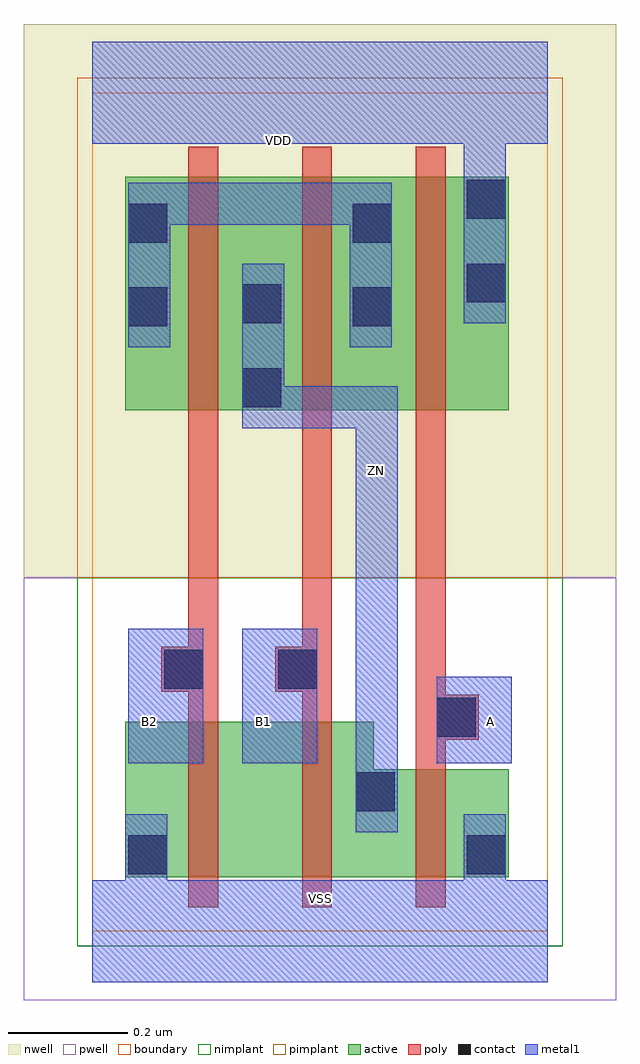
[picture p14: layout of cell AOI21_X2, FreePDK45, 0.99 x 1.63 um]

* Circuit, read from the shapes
.subckt AOI21_X2 A B1 B2 VDD VSS ZN
M1 n1 B2 VSS VSUBS nfet w=0.26u l=0.05u
M2 ZN B1 n1 VSUBS nfet w=0.26u l=0.05u
M3 VSS A ZN VSUBS nfet w=0.18u l=0.05u
M4 ZN B2 n2 n3 pfet w=0.39u l=0.05u
M5 n2 B1 ZN n3 pfet w=0.39u l=0.05u
M6 VDD A n2 n3 pfet w=0.39u l=0.05u
.ends

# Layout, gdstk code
import gdstk
lib = gdstk.Library(unit=1e-6, precision=1e-10)
def R(c, l, rs):  # rectangles x0, y0, x1, y1
    for r in rs: c.add(gdstk.rectangle(r[:2], r[2:], *l))
def P(c, l, *ps):  # polygons
    for p in ps: c.add(gdstk.Polygon(p, *l))
active = (1, 0)
pwell = (2, 0)
nwell = (3, 0)
nimplant = (4, 0)
pimplant = (5, 0)
poly = (9, 0)
contact = (10, 0)
metal1 = (11, 0)
boundary = (235, 0)

aoi21_x2 = lib.new_cell('AOI21_X2')
R(aoi21_x2, active, [(0.055,0.87,0.695,1.26)])
P(aoi21_x2, active, [(0.055,0.09),(0.695,0.09),(0.695,0.27),(0.47,0.27),(0.47,0.35),(0.055,0.35)])
R(aoi21_x2, pwell, [(-0.115,-0.115,0.875,0.59)])
R(aoi21_x2, nwell, [(-0.115,0.59,0.875,1.515)])
R(aoi21_x2, nimplant, [(-0.025,-0.025,0.785,0.59)])
R(aoi21_x2, pimplant, [(-0.025,0.59,0.785,1.425)])
P(aoi21_x2, poly, [(0.115,0.4),(0.16,0.4),(0.16,0.04),(0.21,0.04),(0.21,1.31),(0.16,1.31),(0.16,0.475),(0.115,0.475)],
  [(0.305,0.4),(0.35,0.4),(0.35,0.04),(0.4,0.04),(0.4,1.31),(0.35,1.31),(0.35,0.475),(0.305,0.475)],
  [(0.54,0.04),(0.59,0.04),(0.59,0.32),(0.645,0.32),(0.645,0.395),(0.59,0.395),(0.59,1.31),(0.54,1.31)])
R(aoi21_x2, contact, [(0.06,0.095,0.125,0.16), (0.625,0.095,0.69,0.16), (0.44,0.2,0.505,0.265), (0.575,0.325,0.64,0.39), (0.12,0.405,0.185,0.47), (0.31,0.405,0.375,0.47), (0.25,0.875,0.315,0.94), (0.06,1.01,0.125,1.075), (0.435,1.01,0.5,1.075), (0.25,1.015,0.315,1.08), (0.625,1.05,0.69,1.115), (0.06,1.15,0.125,1.215), (0.435,1.15,0.5,1.215), (0.625,1.19,0.69,1.255)])
R(aoi21_x2, metal1, [(0.06,0.28,0.185,0.505), (0.25,0.28,0.375,0.505), (0.575,0.28,0.7,0.425)])
P(aoi21_x2, metal1, [(0.06,0.975),(0.13,0.975),(0.13,1.18),(0.43,1.18),(0.43,0.975),(0.5,0.975),(0.5,1.25),(0.06,1.25)],
  [(0.25,0.84),(0.44,0.84),(0.44,0.165),(0.51,0.165),(0.51,0.91),(0.32,0.91),(0.32,1.115),(0.25,1.115)],
  [(0,-0.085),(0.76,-0.085),(0.76,0.085),(0.69,0.085),(0.69,0.195),(0.62,0.195),(0.62,0.085),(0.125,0.085),(0.125,0.195),(0.055,0.195),(0.055,0.085),(0,0.085)],
  [(0,1.315),(0.62,1.315),(0.62,1.015),(0.69,1.015),(0.69,1.315),(0.76,1.315),(0.76,1.485),(0,1.485)])
R(aoi21_x2, boundary, [(0,0,0.76,1.4)])
aoi21_x2.add(gdstk.Label('A', (0.665,0.35), layer=11, texttype=0))
aoi21_x2.add(gdstk.Label('B1', (0.285,0.35), layer=11, texttype=0))
aoi21_x2.add(gdstk.Label('B2', (0.095,0.35), layer=11, texttype=0))
aoi21_x2.add(gdstk.Label('VDD', (0.31,1.32), layer=11, texttype=0))
aoi21_x2.add(gdstk.Label('VSS', (0.38,0.055), layer=11, texttype=0))
aoi21_x2.add(gdstk.Label('ZN', (0.475,0.77), layer=11, texttype=0))

lib.write_gds('AOI21_X2.gds')
